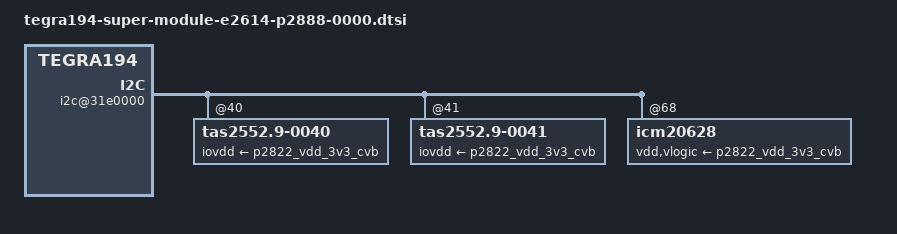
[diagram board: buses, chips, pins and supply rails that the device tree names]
/*
 * tegra194-super-module-e2614-p2888-0000.dtsi: E2600 DTSI file.
 *
 * Copyright (c) 2018, NVIDIA CORPORATION.  All rights reserved.
 *
 * This program is free software; you can redistribute it and/or modify
 * it under the terms of the GNU General Public License as published by
 * the Free Software Foundation; version 2 of the License.
 *
 * This program is distributed in the hope that it will be useful, but WITHOUT
 * ANY WARRANTY; without even the implied warranty of MERCHANTABILITY or
 * FITNESS FOR A PARTICULAR PURPOSE.  See the GNU General Public License for
 * more details.
 */

#include <t19x-common-modules/tegra194-super-module-e2614.dtsi>

/ {
	i2c@31e0000 {
		i2cmux@70 {
			vcc-supply = <&p2822_vdd_3v3_cvb>;
			i2c@0 {
				tas2552.9-0040@40 {
					iovdd-supply = <&p2822_vdd_3v3_cvb>;
				};
				tas2552.9-0041@41 {
					iovdd-supply = <&p2822_vdd_3v3_cvb>;
                                };
			};
		};

                icm20628@68 {
			vdd-supply = <&p2822_vdd_3v3_cvb>;
			vlogic-supply = <&p2822_vdd_3v3_cvb>;
                };
	};
};
